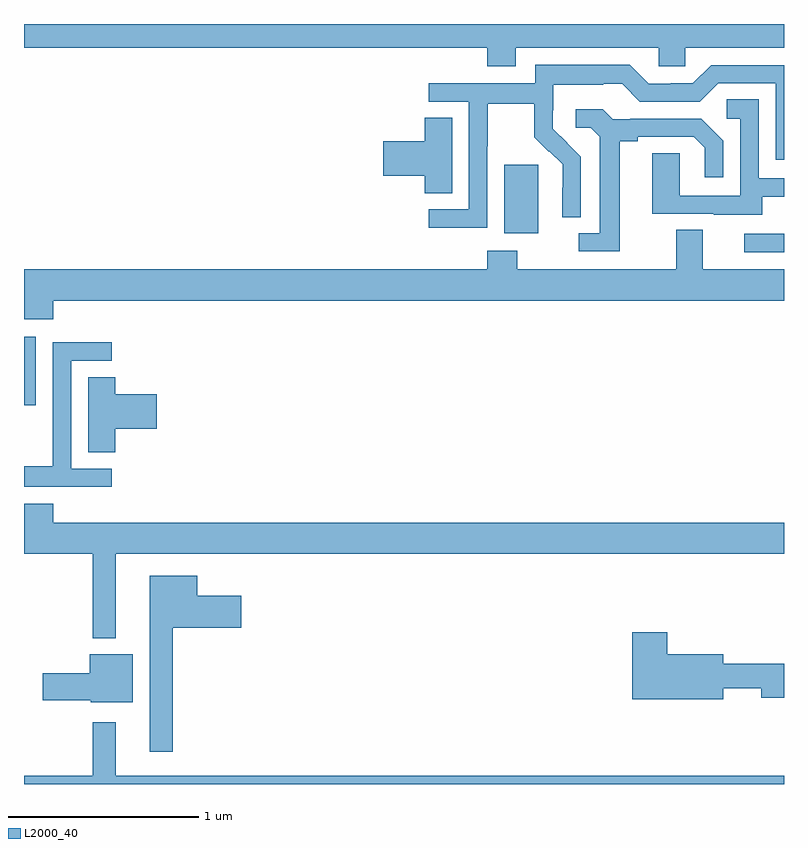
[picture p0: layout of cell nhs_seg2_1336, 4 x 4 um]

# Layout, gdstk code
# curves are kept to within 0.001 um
import gdstk
lib = gdstk.Library(unit=1e-6, precision=1e-09)
def R(c, l, rs):  # rectangles x0, y0, x1, y1
    for r in rs: c.add(gdstk.rectangle(r[:2], r[2:], *l))
def P(c, l, *ps):  # polygons
    for p in ps: c.add(gdstk.Polygon(p, *l))
L2000_40 = (2000, 40)

nhs_seg2_1336 = lib.new_cell('nhs_seg2_1336')
R(nhs_seg2_1336, L2000_40, [(181,605.793,181.063,606.154), (184.791,606.6,185,606.696), (183.527,606.698,183.706,607.059)])
P(nhs_seg2_1336, L2000_40, [(181,607.676),(183.437,607.676),(183.437,607.577),(183.589,607.577),(183.589,607.676),(184.341,607.676),(184.341,607.578),(184.479,607.578),(184.479,607.676),(185,607.676),(185,607.8),(181,607.8)],
  [(183.438,607.156),(183.441,607.156),(183.441,607.38),(183.685,607.38),(183.685,607.205),(183.762,607.128),(183.765,607.131),(183.836,607.061),(183.836,606.938),(183.834,606.938),(183.834,606.784),(183.93,606.784),(183.93,607.102),(183.784,607.25),(183.784,607.347),(183.786,607.347),(183.786,607.481),(184.049,607.481),(184.049,607.485),(184.149,607.485),(184.242,607.392),(184.557,607.392),(184.653,607.488),(184.956,607.488),(184.956,607.086),(185,607.086),(185,607.584),(184.617,607.584),(184.521,607.488),(184.403,607.488),(184.403,607.485),(184.287,607.485),(184.187,607.585),(183.69,607.585),(183.69,607.488),(183.129,607.488),(183.129,607.392),(183.342,607.392),(183.342,606.825),(183.129,606.825),(183.129,606.727),(183.438,606.727)],
  [(184.885,606.891),(185,606.891),(185,606.987),(184.866,606.987),(184.866,607.403),(184.698,607.403),(184.698,607.302),(184.77,607.302),(184.77,606.897),(184.452,606.897),(184.452,607.121),(184.307,607.121),(184.307,606.801),(184.631,606.801),(184.631,606.797),(184.885,606.797)],
  [(184.135,607.184),(184.231,607.184),(184.231,607.206),(184.526,607.206),(184.583,607.149),(184.583,606.993),(184.68,606.993),(184.68,607.186),(184.564,607.302),(184.192,607.302),(184.192,607.299),(184.098,607.299),(184.046,607.351),(183.903,607.351),(183.903,607.254),(183.984,607.254),(184.031,607.207),(184.031,606.699),(183.921,606.699),(183.921,606.603),(184.135,606.603)],
  [(183.253,607.307),(183.11,607.307),(183.11,607.184),(182.892,607.184),(182.892,607.001),(183.11,607.001),(183.11,606.91),(183.253,606.91)],
  [(181.154,606.344),(185,606.344),(185,606.508),(184.573,606.508),(184.573,606.716),(184.433,606.716),(184.433,606.508),(183.597,606.508),(183.597,606.607),(183.437,606.607),(183.437,606.508),(181,606.508),(181,606.245),(181.154,606.245)],
  [(181.462,605.46),(181.248,605.46),(181.248,606.027),(181.462,606.027),(181.462,606.126),(181.152,606.126),(181.152,605.696),(181.15,605.696),(181.15,605.473),(181,605.473),(181,605.364),(181.462,605.364)],
  [(181.481,605.669),(181.699,605.669),(181.699,605.852),(181.481,605.852),(181.481,605.942),(181.337,605.942),(181.337,605.545),(181.481,605.545)],
  [(181.483,605.012),(185,605.012),(185,605.176),(181.154,605.176),(181.154,605.275),(181.001,605.275),(181.001,605.176),(181,605.176),(181,605.012),(181.362,605.012),(181.362,604.568),(181.483,604.568)],
  [(181.783,604.622),(182.143,604.622),(182.143,604.792),(181.912,604.792),(181.912,604.897),(181.661,604.897),(181.661,603.969),(181.783,603.969)],
  [(184.681,604.305),(184.88,604.305),(184.88,604.255),(185,604.255),(185,604.433),(184.681,604.433),(184.681,604.483),(184.385,604.483),(184.385,604.6),(184.202,604.6),(184.202,604.247),(184.681,604.247)],
  [(181.573,604.483),(181.346,604.483),(181.346,604.382),(181.098,604.382),(181.098,604.24),(181.35,604.24),(181.35,604.229),(181.573,604.229)],
  [(185,603.844),(181.483,603.844),(181.483,604.126),(181.362,604.126),(181.362,603.844),(181,603.844),(181,603.8),(185,603.8)])

lib.write_gds('nhs_seg2_1336.gds')
